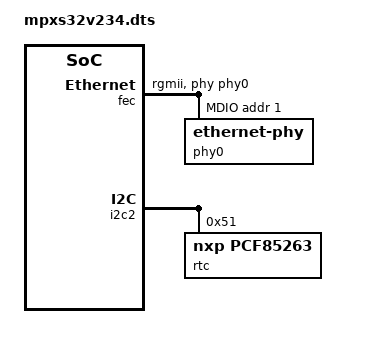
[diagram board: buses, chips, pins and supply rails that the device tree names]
/*
 * Copyright 2015 Freescale Semiconductor, Inc.
 *
 * This program is free software; you can redistribute it and/or modify
 * it under the terms of the GNU General Public License as published by
 * the Free Software Foundation; either version 2 of the License, or
 * (at your option) any later version.
 */

/dts-v1/;
#include "mpxs32v234.dtsi"

&fec {
	phy-mode = "rgmii";
	phy-handle = <&phy0>;
	status = "okay";
	mdio {
		#address-cells = <1>;
		#size-cells = <0>;
		phy0: ethernet-phy@1 {
			reg = <1>;
		};
	};
};

&i2c2 {
    rtc@51 {
        compatible = "nxp,pcf85263";
	reg = <0x51>;
        quartz-load-capacitance = <2>;
        quartz-drive-strength = <1>;
    };
};
